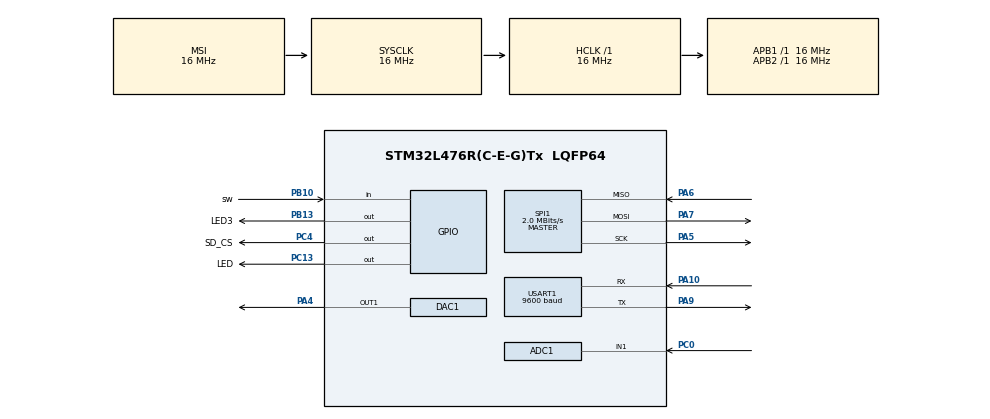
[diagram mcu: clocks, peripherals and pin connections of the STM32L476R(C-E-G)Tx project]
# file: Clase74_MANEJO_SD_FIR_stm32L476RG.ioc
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ADC1.Channel-0\#ChannelRegularConversion=ADC_CHANNEL_1
ADC1.NbrOfConversionFlag=1
ADC1.OffsetNumber-0\#ChannelRegularConversion=ADC_OFFSET_NONE
ADC1.Rank-0\#ChannelRegularConversion=1
ADC1.SamplingTime-0\#ChannelRegularConversion=ADC_SAMPLETIME_2CYCLES_5
ADC1.master=1
Dma.DAC_CH1.0.Direction=DMA_MEMORY_TO_PERIPH
Dma.DAC_CH1.0.Instance=DMA1_Channel3
Dma.DAC_CH1.0.MemDataAlignment=DMA_MDATAALIGN_HALFWORD
Dma.DAC_CH1.0.MemInc=DMA_MINC_ENABLE
Dma.DAC_CH1.0.Mode=DMA_CIRCULAR
Dma.DAC_CH1.0.PeriphDataAlignment=DMA_PDATAALIGN_HALFWORD
Dma.DAC_CH1.0.PeriphInc=DMA_PINC_DISABLE
Dma.DAC_CH1.0.Priority=DMA_PRIORITY_LOW
Dma.Request0=DAC_CH1
FATFS._FS_TINY=1
FATFS._USE_LFN=1
Mcu.Family=STM32L4
Mcu.Name=STM32L476R(C-E-G)Tx
Mcu.Package=LQFP64
NVIC.DMA1_Channel3_IRQn=true\:0\:0\:false\:false\:true\:false\:true\:true
NVIC.PriorityGroup=NVIC_PRIORITYGROUP_4
NVIC.TIM6_DAC_IRQn=true\:0\:0\:false\:false\:true\:true\:true\:true
PA10.Mode=Asynchronous
PA10.Signal=USART1_RX
PA4.Signal=COMP_DAC11_group
PA5.Mode=Full_Duplex_Master
PA5.Signal=SPI1_SCK
PA6.Mode=Full_Duplex_Master
PA6.Signal=SPI1_MISO
PA7.Mode=Full_Duplex_Master
PA7.Signal=SPI1_MOSI
PA9.Mode=Asynchronous
PA9.Signal=USART1_TX
PB10.GPIO_Label=sw
PB10.GPIO_PuPd=GPIO_PULLUP
PB10.Signal=GPIO_Input
PB13.GPIO_Label=LED3
PB13.Signal=GPIO_Output
PC0.Signal=ADCx_IN1
PC13.GPIO_Label=LED
PC13.Signal=GPIO_Output
PC14-OSC32_IN\ (PC14).Mode=LSE-External-Clock-Source
PC14-OSC32_IN\ (PC14).Signal=RCC_OSC32_IN
PC4.GPIO_Label=SD_CS
PC4.Signal=GPIO_Output
ProjectManager.HeapSize=0x200
ProjectManager.StackSize=0x400
ProjectManager.TargetToolchain=STM32CubeIDE
RCC.ADCFreq_Value=64000000
RCC.AHBFreq_Value=16000000
RCC.APB1Freq_Value=16000000
RCC.APB1TimFreq_Value=16000000
RCC.APB2Freq_Value=16000000
RCC.APB2TimFreq_Value=16000000
RCC.CortexFreq_Value=16000000
RCC.HCLKFreq_Value=16000000
RCC.HSE_VALUE=8000000
RCC.HSI_VALUE=16000000
RCC.LSE_VALUE=32768
RCC.MSIClockRange=RCC_MSIRANGE_8
RCC.MSI_VALUE=16000000
RCC.PWREXT_OverDrive=PWREXT_OverDrive_DESACTIVATED
RCC.RCC_TIM_PRescaler_Selection=RCC_TIMPRES_DESACTIVATED
RCC.SYSCLKFreq_VALUE=16000000
RCC.USBFreq_Value=64000000
RCC.VCOOutputFreq_Value=128000000
SH.ADCx_IN1.0=ADC1_IN1,IN1-Single-Ended
SH.COMP_DAC11_group.0=DAC1_OUT1,DAC_OUT1
SPI1.BaudRatePrescaler=SPI_BAUDRATEPRESCALER_8
SPI1.CalculateBaudRate=2.0 MBits/s
SPI1.DataSize=SPI_DATASIZE_8BIT
SPI1.Direction=SPI_DIRECTION_2LINES
SPI1.Mode=SPI_MODE_MASTER
SPI1.VirtualType=VM_MASTER
STMicroelectronics.X-CUBE-ALGOBUILD.1.5.0.LibraryCcDSPOoLibraryJjDSPOoLibrary=true
TIM4.Period=250-1
TIM4.Prescaler=16000-1
USART1.BaudRate=9600
USART1.VirtualMode-Asynchronous=VM_ASYNC
VP_FATFS_VS_Generic.Mode=User_defined
VP_STMicroelectronics.X-CUBE-ALGOBUILD_VS_DSPOoLibraryJjLibrary_1.5.0_1.5.0.Mode=DSPOoLibraryJjLibrary
VP_TIM4_VS_ClockSourceINT.Mode=Internal
board=custom

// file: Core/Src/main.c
/* USER CODE BEGIN Header */
/**
  ******************************************************************************
  * @file           : main.c
  * @brief          : Main program body
  ******************************************************************************
  * @attention
  *
  * Copyright (c) 2026 STMicroelectronics.
  * All rights reserved.
  *
  * This software is licensed under terms that can be found in the LICENSE file
  * in the root directory of this software component.
  * If no LICENSE file comes with this software, it is provided AS-IS.
  *
  ******************************************************************************
  */
/* USER CODE END Header */
#include "main.h"
#include "fatfs.h"

/* USER CODE BEGIN Includes */
#include "stdio.h"
#include "stdint.h"
#include "stdlib.h"
#include "string.h"

#include "adc.h"
#include "uart.h"
#include "pinout.h"
#include "fatfs_sd.h"

/* USER CODE END Includes */

ADC_HandleTypeDef hadc1;

DAC_HandleTypeDef hdac1;
DMA_HandleTypeDef hdma_dac_ch1;

SPI_HandleTypeDef hspi1;

TIM_HandleTypeDef htim4;

UART_HandleTypeDef huart1;

/* USER CODE BEGIN PV */
//variables de la memoria
FATFS memsd;
FATFS *pfs;
FIL archivo;
FRESULT fres;  // resultados de operaciones copn la memoria
uint32_t fre_clust;//
uint32_t totalSpace, freeSpace;
char SD_BUFFER[100];// SD_SD_BUFFER usado para la memoria
//char SD_BUFFER[_MAX_SS];// solo si se desea formatear;

char texto[100];

uint16_t  codigo,cont=0;
float temperatura;

/* USER CODE END PV */

void SystemClock_Config(void);
static void MX_GPIO_Init(void);
static void MX_DMA_Init(void);
static void MX_DAC1_Init(void);
static void MX_SPI1_Init(void);
static void MX_USART1_UART_Init(void);
static void MX_TIM4_Init(void);
static void MX_ADC1_Init(void);

/* USER CODE BEGIN 0 */
void SD_PRUEBA(void)
{
	//retardo inicializacion

	//formatea la memoria montada en FAT32
	//if(f_mkfs("", FM_FAT, 0, SD_BUFFER, _MAX_SS) != FR_OK)

	//if(f_mkfs("", FM_FAT32, 0, SD_BUFFER, _MAX_SS) != FR_OK)
	// uartx_write_text(&huart1, "NO FORMATEAD0\r\n");

	//Abre un archivo sino lo crea
	if(f_open(&archivo, "ARZ.txt", FA_OPEN_ALWAYS | FA_READ | FA_WRITE) != FR_OK)
		uartx_write_text(&huart1, "Archivo no creado\r\n");
	else
		uartx_write_text(&huart1, "Archivo creado\r\n");

	//calcula espacio libre en la memoria
	if(f_getfree("", &fre_clust, &pfs) != FR_OK);

	totalSpace = (uint32_t)((pfs->n_fatent - 2) * pfs->csize * 0.5);
	freeSpace = (uint32_t)(fre_clust * pfs->csize * 0.5);

	//mira si si es menor de 1
	if(freeSpace < 1)
		uartx_write_text(&huart1, "Memoria llena\r\n");
	else
		uartx_write_text(&huart1, "Espacio Libre en Memoria!\r\n");

	//escribe algo en la memoria
	f_puts("PROBANDO\r\n", &archivo);
	f_puts("FUNCIONANDO\r\n", &archivo);
	f_puts("mas datos\r\n", &archivo);

	//cierra archivo abierto
	if(f_close(&archivo) != FR_OK)
		uartx_write_text(&huart1, "DATOS  GUARDADOS");

	//abre  un archivo para lectura
	if(f_open(&archivo, "ARZ.txt", FA_READ) != FR_OK);

	//LEE LINEA POR LINEA
	uartx_write_text(&huart1, "leido=");
	while(f_gets(SD_BUFFER, sizeof(SD_BUFFER), &archivo)){
		sprintf(texto,"%s", SD_BUFFER);
		uartx_write_text(&huart1, texto);
		uartx_write_text(&huart1, "\r\n");
	}

	//cierra el archivo
	if(f_close(&archivo) != FR_OK);

	//si es necesario desmonta la memoria
	//		if(f_mount(NULL, "", 1) != FR_OK);

}

/* USER CODE END 0 */

int main(void)
{

  /* MCU Configuration--------------------------------------------------------*/

  /* Reset of all peripherals, Initializes the Flash interface and the Systick. */
  HAL_Init();

  /* Configure the system clock */
  SystemClock_Config();

  /* Initialize all configured peripherals */
  MX_GPIO_Init();
  MX_DMA_Init();
  MX_DAC1_Init();
  MX_SPI1_Init();
  MX_USART1_UART_Init();
  MX_TIM4_Init();
  MX_FATFS_Init();
  MX_ADC1_Init();
  /* USER CODE BEGIN 2 */

	HAL_TIM_Base_Start_IT(&htim4);
	//HAL_TIM_Base_Start(&htim4);

	HAL_Delay(500);

	//detecta la memoria
	if(f_mount(&memsd, "", 1) == FR_OK)
		uartx_write_text(&huart1, "memoria encontrada\r\n");
	else
		uartx_write_text(&huart1, "memoria no encontrada\r\n");

	 SD_PRUEBA();

	 //Abre un archivo existente para agregar datos
	 if(f_open(&archivo, "suscribete.txt",FA_OPEN_APPEND | FA_READ | FA_WRITE) != FR_OK)
		   HAL_Delay(1);

		uartx_write_text(&huart1, "\r\nEngancha a SUSCRIBIRSE\r\n");
	 //escribe algo en la memoria
	 f_puts("SUSCRIBETE\r\n", &archivo);
	 f_puts("AL MEJOR\r\n", &archivo);
	 f_puts("CANAL\r\n", &archivo);
	 f_puts("DE EMBEBIDOS\r\n", &archivo);

	 //cierra archivo abierto
	 f_close(&archivo);

	 //  crea el nuevo archivo para almacenar  los dat[s
	 f_open(&archivo, "Data.txt", FA_CREATE_ALWAYS | FA_READ | FA_WRITE);
	 f_close(&archivo);

  /* USER CODE END 2 */

  /* Infinite loop */
  /* USER CODE BEGIN WHILE */
  while (1)
  {

	  PIN_BLINK(LED);
	  //PIN_BLINK(LED3);
	  codigo=ADC_Read();
	  temperatura=codigo*3.3*100.0/4095.0;
	  sprintf(texto,"%u\t%.1f\r\n",cont,temperatura);
	  cont++;
	  if(PIN_READ(sw)==1){
		  //Abre un archivo sino lo crea
		  f_open(&archivo, "Data.txt",FA_OPEN_APPEND | FA_READ | FA_WRITE) ;
		  HAL_Delay(1);
		  //escribe algo en la memoria

		  f_puts(texto, &archivo);

		  //cierra archivo abierto
		  f_close(&archivo);
	  }else {
		  //desmonta la memoria
		  f_mount(NULL, "", 1);
		  uartx_write_text(&huart1, "puede sacar la memoria");
		  PIN_OFF(LED);
		  HAL_Delay(3000);
	  }

	  HAL_Delay(200);

    /* USER CODE END WHILE */

  }
}

void SystemClock_Config(void)
{
  RCC_OscInitTypeDef RCC_OscInitStruct = {0};
  RCC_ClkInitTypeDef RCC_ClkInitStruct = {0};

  /** Configure the main internal regulator output voltage
  */
  if (HAL_PWREx_ControlVoltageScaling(PWR_REGULATOR_VOLTAGE_SCALE1) != HAL_OK)
  {
    Error_Handler();
  }

  /** Initializes the RCC Oscillators according to the specified parameters
  * in the RCC_OscInitTypeDef structure.
  */
  RCC_OscInitStruct.OscillatorType = RCC_OSCILLATORTYPE_LSE|RCC_OSCILLATORTYPE_MSI;
  RCC_OscInitStruct.LSEState = RCC_LSE_BYPASS;
  RCC_OscInitStruct.MSIState = RCC_MSI_ON;
  RCC_OscInitStruct.MSICalibrationValue = 0;
  RCC_OscInitStruct.MSIClockRange = RCC_MSIRANGE_8;
  RCC_OscInitStruct.PLL.PLLState = RCC_PLL_NONE;
  if (HAL_RCC_OscConfig(&RCC_OscInitStruct) != HAL_OK)
  {
    Error_Handler();
  }

  /** Initializes the CPU, AHB and APB buses clocks
  */
  RCC_ClkInitStruct.ClockType = RCC_CLOCKTYPE_HCLK|RCC_CLOCKTYPE_SYSCLK
                              |RCC_CLOCKTYPE_PCLK1|RCC_CLOCKTYPE_PCLK2;
  RCC_ClkInitStruct.SYSCLKSource = RCC_SYSCLKSOURCE_MSI;
  RCC_ClkInitStruct.AHBCLKDivider = RCC_SYSCLK_DIV1;
  RCC_ClkInitStruct.APB1CLKDivider = RCC_HCLK_DIV1;
  RCC_ClkInitStruct.APB2CLKDivider = RCC_HCLK_DIV1;

  if (HAL_RCC_ClockConfig(&RCC_ClkInitStruct, FLASH_LATENCY_0) != HAL_OK)
  {
    Error_Handler();
  }

  /** Enable MSI Auto calibration
  */
  HAL_RCCEx_EnableMSIPLLMode();
}

static void MX_ADC1_Init(void)
{

  ADC_MultiModeTypeDef multimode = {0};
  ADC_ChannelConfTypeDef sConfig = {0};

  /** Common config
  */
  hadc1.Instance = ADC1;
  hadc1.Init.ClockPrescaler = ADC_CLOCK_ASYNC_DIV1;
  hadc1.Init.Resolution = ADC_RESOLUTION_12B;
  hadc1.Init.DataAlign = ADC_DATAALIGN_RIGHT;
  hadc1.Init.ScanConvMode = ADC_SCAN_DISABLE;
  hadc1.Init.EOCSelection = ADC_EOC_SINGLE_CONV;
  hadc1.Init.LowPowerAutoWait = DISABLE;
  hadc1.Init.ContinuousConvMode = DISABLE;
  hadc1.Init.NbrOfConversion = 1;
  hadc1.Init.DiscontinuousConvMode = DISABLE;
  hadc1.Init.ExternalTrigConv = ADC_SOFTWARE_START;
  hadc1.Init.ExternalTrigConvEdge = ADC_EXTERNALTRIGCONVEDGE_NONE;
  hadc1.Init.DMAContinuousRequests = DISABLE;
  hadc1.Init.Overrun = ADC_OVR_DATA_PRESERVED;
  hadc1.Init.OversamplingMode = DISABLE;
  if (HAL_ADC_Init(&hadc1) != HAL_OK)
  {
    Error_Handler();
  }

  /** Configure the ADC multi-mode
  */
  multimode.Mode = ADC_MODE_INDEPENDENT;
  if (HAL_ADCEx_MultiModeConfigChannel(&hadc1, &multimode) != HAL_OK)
  {
    Error_Handler();
  }

  /** Configure Regular Channel
  */
  sConfig.Channel = ADC_CHANNEL_1;
  sConfig.Rank = ADC_REGULAR_RANK_1;
  sConfig.SamplingTime = ADC_SAMPLETIME_2CYCLES_5;
  sConfig.SingleDiff = ADC_SINGLE_ENDED;
  sConfig.OffsetNumber = ADC_OFFSET_NONE;
  sConfig.Offset = 0;
  if (HAL_ADC_ConfigChannel(&hadc1, &sConfig) != HAL_OK)
  {
    Error_Handler();
  }

}

static void MX_DAC1_Init(void)
{

  DAC_ChannelConfTypeDef sConfig = {0};

  /** DAC Initialization
  */
  hdac1.Instance = DAC1;
  if (HAL_DAC_Init(&hdac1) != HAL_OK)
  {
    Error_Handler();
  }

  /** DAC channel OUT1 config
  */
  sConfig.DAC_SampleAndHold = DAC_SAMPLEANDHOLD_DISABLE;
  sConfig.DAC_Trigger = DAC_TRIGGER_NONE;
  sConfig.DAC_OutputBuffer = DAC_OUTPUTBUFFER_ENABLE;
  sConfig.DAC_ConnectOnChipPeripheral = DAC_CHIPCONNECT_DISABLE;
  sConfig.DAC_UserTrimming = DAC_TRIMMING_FACTORY;
  if (HAL_DAC_ConfigChannel(&hdac1, &sConfig, DAC_CHANNEL_1) != HAL_OK)
  {
    Error_Handler();
  }

}

static void MX_SPI1_Init(void)
{

  /* SPI1 parameter configuration*/
  hspi1.Instance = SPI1;
  hspi1.Init.Mode = SPI_MODE_MASTER;
  hspi1.Init.Direction = SPI_DIRECTION_2LINES;
  hspi1.Init.DataSize = SPI_DATASIZE_8BIT;
  hspi1.Init.CLKPolarity = SPI_POLARITY_LOW;
  hspi1.Init.CLKPhase = SPI_PHASE_1EDGE;
  hspi1.Init.NSS = SPI_NSS_SOFT;
  hspi1.Init.BaudRatePrescaler = SPI_BAUDRATEPRESCALER_8;
  hspi1.Init.FirstBit = SPI_FIRSTBIT_MSB;
  hspi1.Init.TIMode = SPI_TIMODE_DISABLE;
  hspi1.Init.CRCCalculation = SPI_CRCCALCULATION_DISABLE;
  hspi1.Init.CRCPolynomial = 7;
  hspi1.Init.CRCLength = SPI_CRC_LENGTH_DATASIZE;
  hspi1.Init.NSSPMode = SPI_NSS_PULSE_ENABLE;
  if (HAL_SPI_Init(&hspi1) != HAL_OK)
  {
    Error_Handler();
  }

}

static void MX_TIM4_Init(void)
{

  TIM_ClockConfigTypeDef sClockSourceConfig = {0};
  TIM_MasterConfigTypeDef sMasterConfig = {0};

  htim4.Instance = TIM4;
  htim4.Init.Prescaler = 16000-1;
  htim4.Init.CounterMode = TIM_COUNTERMODE_UP;
  htim4.Init.Period = 250-1;
  htim4.Init.ClockDivision = TIM_CLOCKDIVISION_DIV1;
  htim4.Init.AutoReloadPreload = TIM_AUTORELOAD_PRELOAD_DISABLE;
  if (HAL_TIM_Base_Init(&htim4) != HAL_OK)
  {
    Error_Handler();
  }
  sClockSourceConfig.ClockSource = TIM_CLOCKSOURCE_INTERNAL;
  if (HAL_TIM_ConfigClockSource(&htim4, &sClockSourceConfig) != HAL_OK)
  {
    Error_Handler();
  }
  sMasterConfig.MasterOutputTrigger = TIM_TRGO_RESET;
  sMasterConfig.MasterSlaveMode = TIM_MASTERSLAVEMODE_DISABLE;
  if (HAL_TIMEx_MasterConfigSynchronization(&htim4, &sMasterConfig) != HAL_OK)
  {
    Error_Handler();
  }

}

static void MX_USART1_UART_Init(void)
{

  huart1.Instance = USART1;
  huart1.Init.BaudRate = 9600;
  huart1.Init.WordLength = UART_WORDLENGTH_8B;
  huart1.Init.StopBits = UART_STOPBITS_1;
  huart1.Init.Parity = UART_PARITY_NONE;
  huart1.Init.Mode = UART_MODE_TX_RX;
  huart1.Init.HwFlowCtl = UART_HWCONTROL_NONE;
  huart1.Init.OverSampling = UART_OVERSAMPLING_16;
  huart1.Init.OneBitSampling = UART_ONE_BIT_SAMPLE_DISABLE;
  huart1.AdvancedInit.AdvFeatureInit = UART_ADVFEATURE_NO_INIT;
  if (HAL_UART_Init(&huart1) != HAL_OK)
  {
    Error_Handler();
  }

}

static void MX_DMA_Init(void)
{

  /* DMA controller clock enable */
  __HAL_RCC_DMA1_CLK_ENABLE();

  /* DMA interrupt init */
  /* DMA1_Channel3_IRQn interrupt configuration */
  HAL_NVIC_SetPriority(DMA1_Channel3_IRQn, 0, 0);
  HAL_NVIC_EnableIRQ(DMA1_Channel3_IRQn);

}

static void MX_GPIO_Init(void)
{
  GPIO_InitTypeDef GPIO_InitStruct = {0};

  /* GPIO Ports Clock Enable */
  __HAL_RCC_GPIOC_CLK_ENABLE();
  __HAL_RCC_GPIOA_CLK_ENABLE();
  __HAL_RCC_GPIOB_CLK_ENABLE();

  /*Configure GPIO pin Output Level */
  HAL_GPIO_WritePin(GPIOC, LED_Pin|SD_CS_Pin, GPIO_PIN_RESET);

  /*Configure GPIO pin Output Level */
  HAL_GPIO_WritePin(LED3_GPIO_Port, LED3_Pin, GPIO_PIN_RESET);

  /*Configure GPIO pins : LED_Pin SD_CS_Pin */
  GPIO_InitStruct.Pin = LED_Pin|SD_CS_Pin;
  GPIO_InitStruct.Mode = GPIO_MODE_OUTPUT_PP;
  GPIO_InitStruct.Pull = GPIO_NOPULL;
  GPIO_InitStruct.Speed = GPIO_SPEED_FREQ_LOW;
  HAL_GPIO_Init(GPIOC, &GPIO_InitStruct);

  /*Configure GPIO pin : sw_Pin */
  GPIO_InitStruct.Pin = sw_Pin;
  GPIO_InitStruct.Mode = GPIO_MODE_INPUT;
  GPIO_InitStruct.Pull = GPIO_PULLUP;
  HAL_GPIO_Init(sw_GPIO_Port, &GPIO_InitStruct);

  /*Configure GPIO pin : LED3_Pin */
  GPIO_InitStruct.Pin = LED3_Pin;
  GPIO_InitStruct.Mode = GPIO_MODE_OUTPUT_PP;
  GPIO_InitStruct.Pull = GPIO_NOPULL;
  GPIO_InitStruct.Speed = GPIO_SPEED_FREQ_LOW;
  HAL_GPIO_Init(LED3_GPIO_Port, &GPIO_InitStruct);

}

void Error_Handler(void)
{
  __disable_irq();
  while (1)
  {
  }
}
